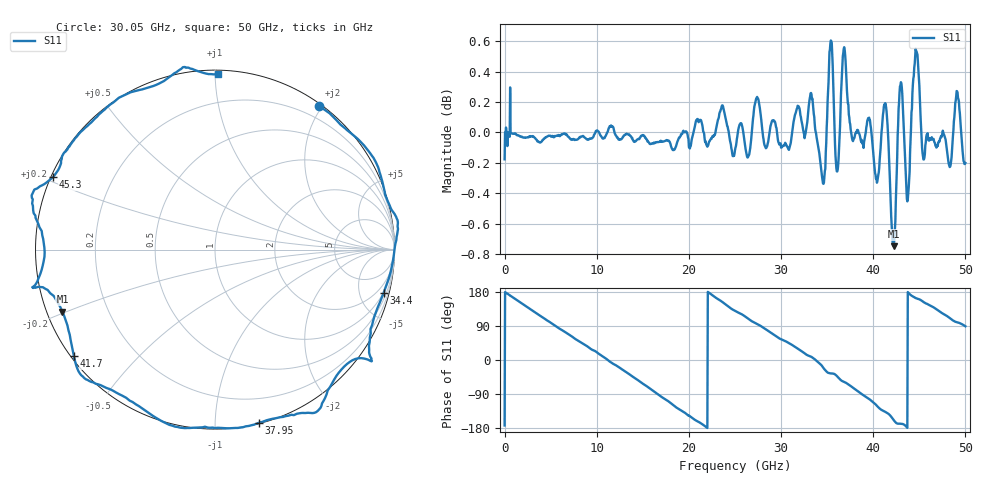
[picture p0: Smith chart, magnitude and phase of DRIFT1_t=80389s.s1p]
!Created with skrf (http://scikit-rf.org).
# Hz S RI R 50.0
!freq ReS11 ImS11
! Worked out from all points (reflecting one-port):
!   1001 points, 300 kHz to 50 GHz, reference 50 ohm
!   lowest |S11| = -0.7 dB at 42.2 GHz (marker M1), VSWR 23.25, Z = 2.23 - j9.76 ohm
!   phase of S11 starts at -173 deg and turns -818 deg over the sweep
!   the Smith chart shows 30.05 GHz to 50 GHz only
!   S11 on the Smith chart (normalised r, x): 30.05 GHz: 0.03, +1.96; 34.4 GHz: 0.96, -7.82; 37.95 GHz: 0.01, -1.29; 41.7 GHz: 0.01, -0.33; 45.3 GHz: 0.01, +0.21; 50 GHz: 0.02, +1.02
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300000  -0.9722 -0.1224
1.450291e9  -0.9125 0.404
3.25028e9  -0.5932 0.8001
6.250262e9  0.1984 0.9789
9.500243e9  0.8873 0.4516
1.250022e10  0.9303 -0.3515
1.580021e10  0.2428 -0.961
1.74002e10  -0.2228 -0.9682
1.875019e10  -0.5986 -0.7924
2.165017e10  -0.9916 -0.1222
2.345016e10  -0.9303 0.412
2.500015e10  -0.6277 0.7613
2.745014e10  -0.0834 1.023
3.005012e10  0.5817 0.7995
3.125011e10  0.7818 0.6277
3.32001e10  1.017 0.1651
3.440009e10  0.9396 -0.2406
3.520009e10  0.8655 -0.597
3.750008e10  0.3787 -0.9324
3.795007e10  0.2454 -0.965
3.960006e10  -0.2379 -0.9807
4.170005e10  -0.7865 -0.5917
4.220005e10  -0.8499 -0.3457
4.290004e10  -1.013 -0.214
4.375004e10  -0.9507 0.0111
4.530003e10  -0.9019 0.4047
4.765001e10  -0.5137 0.8564
5e10  0.0182 0.9769
